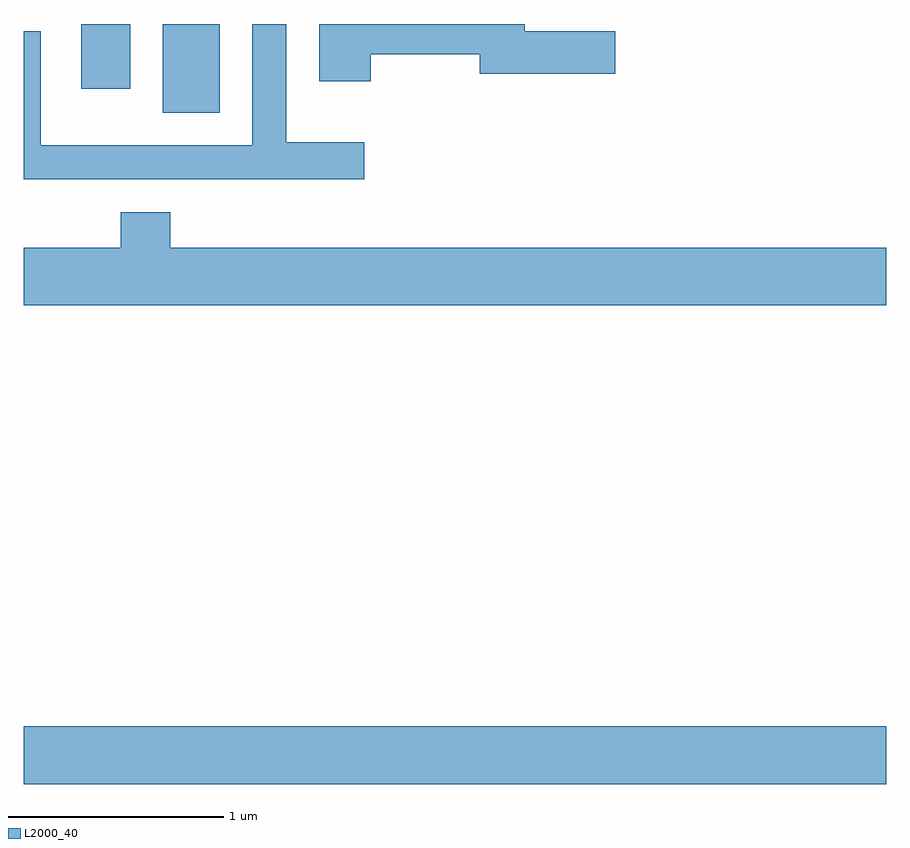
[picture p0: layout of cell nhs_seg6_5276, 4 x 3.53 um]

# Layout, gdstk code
import gdstk
lib = gdstk.Library(unit=1e-6, precision=1e-09)
def R(c, l, rs):  # rectangles x0, y0, x1, y1
    for r in rs: c.add(gdstk.rectangle(r[:2], r[2:], *l))
def P(c, l, *ps):  # polygons
    for p in ps: c.add(gdstk.Polygon(p, *l))
L2000_40 = (2000, 40)

nhs_seg6_5276 = lib.new_cell('nhs_seg6_5276')
R(nhs_seg6_5276, L2000_40, [(345.611,1616.636,349.611,1616.904), (346.256,1619.751,346.519,1620.162), (345.876,1619.861,346.104,1620.162)])
P(nhs_seg6_5276, L2000_40, [(347.219,1620.021),(347.726,1620.021),(347.726,1619.931),(348.354,1619.931),(348.354,1620.129),(347.934,1620.129),(347.934,1620.162),(346.981,1620.162),(346.981,1619.896),(347.219,1619.896)],
  [(347.189,1619.614),(346.829,1619.614),(346.829,1620.162),(346.671,1620.162),(346.671,1619.599),(345.689,1619.599),(345.689,1620.129),(345.611,1620.129),(345.611,1619.441),(347.189,1619.441)],
  [(349.611,1619.124),(346.289,1619.124),(346.289,1619.289),(346.061,1619.289),(346.061,1619.124),(345.611,1619.124),(345.611,1618.856),(349.611,1618.856)])

lib.write_gds('nhs_seg6_5276.gds')
